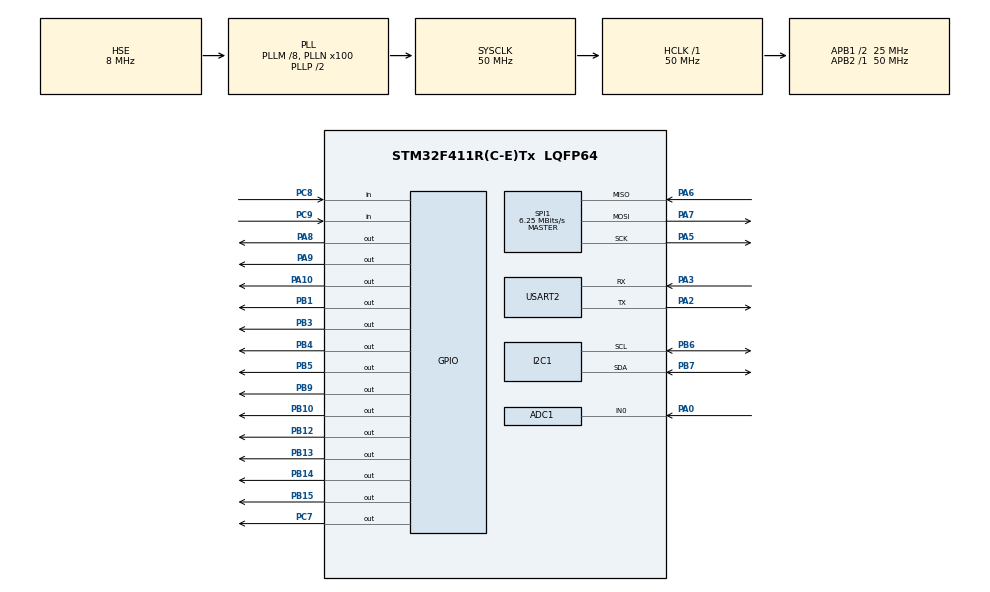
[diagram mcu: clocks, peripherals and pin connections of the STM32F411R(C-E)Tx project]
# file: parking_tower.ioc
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ADC1.Channel-0\#ChannelRegularConversion=ADC_CHANNEL_0
ADC1.NbrOfConversionFlag=1
ADC1.Rank-0\#ChannelRegularConversion=1
ADC1.SamplingTime-0\#ChannelRegularConversion=ADC_SAMPLETIME_3CYCLES
ADC1.master=1
Mcu.Family=STM32F4
Mcu.Name=STM32F411R(C-E)Tx
Mcu.Package=LQFP64
NVIC.ADC_IRQn=true\:0\:0\:false\:false\:true\:true\:true\:true
NVIC.PriorityGroup=NVIC_PRIORITYGROUP_4
PA0-WKUP.Signal=ADCx_IN0
PA10.Signal=GPIO_Output
PA13.Mode=Serial_Wire
PA13.Signal=SYS_JTMS-SWDIO
PA14.Mode=Serial_Wire
PA14.Signal=SYS_JTCK-SWCLK
PA2.Mode=Asynchronous
PA2.Signal=USART2_TX
PA3.Mode=Asynchronous
PA3.Signal=USART2_RX
PA5.Mode=Full_Duplex_Master
PA5.Signal=SPI1_SCK
PA6.Mode=Full_Duplex_Master
PA6.Signal=SPI1_MISO
PA7.Mode=Full_Duplex_Master
PA7.Signal=SPI1_MOSI
PA8.Signal=GPIO_Output
PA9.Signal=GPIO_Output
PB1.Signal=GPIO_Output
PB10.Signal=GPIO_Output
PB12.Signal=GPIO_Output
PB13.Signal=GPIO_Output
PB14.Signal=GPIO_Output
PB15.Signal=GPIO_Output
PB3.Signal=GPIO_Output
PB4.Signal=GPIO_Output
PB5.Signal=GPIO_Output
PB6.Mode=I2C
PB6.Signal=I2C1_SCL
PB7.Mode=I2C
PB7.Signal=I2C1_SDA
PB9.Signal=GPIO_Output
PC7.Signal=GPIO_Output
PC8.GPIO_PuPd=GPIO_PULLUP
PC8.Signal=GPIO_Input
PC9.GPIO_PuPd=GPIO_PULLUP
PC9.Signal=GPIO_Input
PH0\ -\ OSC_IN.Mode=HSE-External-Oscillator
PH0\ -\ OSC_IN.Signal=RCC_OSC_IN
PH1\ -\ OSC_OUT.Mode=HSE-External-Oscillator
PH1\ -\ OSC_OUT.Signal=RCC_OSC_OUT
ProjectManager.HeapSize=0x200
ProjectManager.StackSize=0x400
ProjectManager.TargetToolchain=STM32CubeIDE
RCC.48MHZClocksFreq_Value=25000000
RCC.AHBFreq_Value=50000000
RCC.APB1CLKDivider=RCC_HCLK_DIV2
RCC.APB1Freq_Value=25000000
RCC.APB1TimFreq_Value=50000000
RCC.APB2Freq_Value=50000000
RCC.APB2TimFreq_Value=50000000
RCC.CortexFreq_Value=50000000
RCC.HCLKFreq_Value=50000000
RCC.HSE_VALUE=8000000
RCC.HSI_VALUE=16000000
RCC.LSE_VALUE=32768
RCC.PLLM=8
RCC.PLLN=100
RCC.PLLSourceVirtual=RCC_PLLSOURCE_HSE
RCC.SYSCLKFreq_VALUE=50000000
RCC.SYSCLKSource=RCC_SYSCLKSOURCE_PLLCLK
RCC.VCOOutputFreq_Value=100000000
SH.ADCx_IN0.0=ADC1_IN0,IN0
SPI1.BaudRatePrescaler=SPI_BAUDRATEPRESCALER_8
SPI1.CalculateBaudRate=6.25 MBits/s
SPI1.Direction=SPI_DIRECTION_2LINES
SPI1.Mode=SPI_MODE_MASTER
SPI1.VirtualType=VM_MASTER
USART2.VirtualMode=VM_ASYNC
board=custom

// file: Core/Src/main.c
/* USER CODE BEGIN Header */
/**
  ******************************************************************************
  * @file           : main.c
  * @brief          : Main program body
  ******************************************************************************
  * @attention
  *
  * Copyright (c) 2026 STMicroelectronics.
  * All rights reserved.
  *
  * This software is licensed under terms that can be found in the LICENSE file
  * in the root directory of this software component.
  * If no LICENSE file comes with this software, it is provided AS-IS.
  *
  ******************************************************************************
  */
/* USER CODE END Header */
#include "main.h"
#include "adc.h"
#include "i2c.h"
#include "spi.h"
#include "usart.h"
#include "gpio.h"

/* USER CODE BEGIN Includes */
#include "RC522.h"
#include "string.h"
#include "stdio.h"
#include "stepper.h"
#include "tower.h"
#include "button.h"
#include "parking.h"
#include "led.h"
#include "lcd_ui.h"
#include "HD44780_LCD.h"
/* USER CODE END Includes */

/* USER CODE BEGIN PD */
uint8_t status;
uint8_t str[16];
uint8_t sNum[5];
uint8_t slot = 0;
/* USER CODE END PD */

void SystemClock_Config(void);

/* USER CODE BEGIN 0 */
uint8_t status;
uint8_t str[16];
uint8_t sNum[5];
uint32_t slotEntryTick[8] = {0};
typedef enum
{
    APP_IDLE,

    APP_CONFIRM_IN,
    APP_MOVE_IN,
    APP_IN_COMPLETE,

    APP_CONFIRM_OUT,
    APP_MOVE_OUT,
    APP_OUT_COMPLETE

} AppState;
AppState appState = APP_IDLE;
int outIdx = -1;
int targetSlot = -1;
uint32_t stateTick = 0;
uint32_t durationSec = 0;

uint8_t status;
uint8_t str[16];
uint8_t sNum[5];
HD44780_LCD_t lcd;
#ifdef __GNUC__
  /* With GCC, small printf (option LD Linker->Libraries->Small printf
     set to 'Yes') calls __io_putchar() */
  #define PUTCHAR_PROTOTYPE int __io_putchar(int ch)
#else
  #define PUTCHAR_PROTOTYPE int fputc(int ch, FILE *f)
#endif /* __GNUC__ */
PUTCHAR_PROTOTYPE
{
  /* Place your implementation of fputc here */
  /* e.g. write a character to the EVAL_COM1 and Loop until the end of transmission */
  HAL_UART_Transmit(&huart2, (uint8_t *)&ch, 1, 0xFFFF);

  return ch;
}

/* USER CODE END 0 */

int main(void)
{

  /* MCU Configuration--------------------------------------------------------*/

  /* Reset of all peripherals, Initializes the Flash interface and the Systick. */
  HAL_Init();

  /* Configure the system clock */
  SystemClock_Config();

  /* Initialize all configured peripherals */
  MX_GPIO_Init();
  MX_SPI1_Init();
  MX_USART2_UART_Init();
  MX_ADC1_Init();
  MX_I2C1_Init();
  /* USER CODE BEGIN 2 */
  MFRC522_Init();
  LCD_createI2C(&lcd, &hi2c1);
   LCD_init(&lcd);
   LCD_enableBacklight(&lcd);
   lcdShowIdle();
  uint8_t version = Read_MFRC522(VersionReg);

  char buf[50];
  sprintf(buf, "Version = 0x%02X\r\n", version);
  HAL_UART_Transmit(&huart2, (uint8_t*)buf, strlen(buf), HAL_MAX_DELAY);
  /* USER CODE END 2 */

  /* Infinite loop */
  /* USER CODE BEGIN WHILE */
  while (1)
  {
	  switch(appState)
	     {
	     //--------------------------------------------------
	     // RFID 대기
	     //--------------------------------------------------
	     case APP_IDLE:

	         lcdShowIdle();

	         status = MFRC522_Request(PICC_REQIDL, str);

	         if(status == MI_OK)
	         {
	             status = MFRC522_Anticoll(str);

	             if(status == MI_OK)
	             {
	                 memcpy(sNum, str, 5);

	                 printf("\r\nUID : %02X %02X %02X %02X\r\n",
	                         sNum[0], sNum[1], sNum[2], sNum[3]);

	                 int idx = findCar(sNum);

	                 if(idx == -1)
	                 {
	                     targetSlot = findEmptySlot();

	                     lcdShowInQuestion(targetSlot);

	                     printf("In ? (YES / NO)\r\n");

	                     appState = APP_CONFIRM_IN;
	                 }
	                 else
	                 {
	                     outIdx = idx;
	                     targetSlot = getSlot(idx);

	                     lcdShowOutQuestion(targetSlot);

	                     printf("Out ? (YES / NO)\r\n");

	                     appState = APP_CONFIRM_OUT;
	                 }

	                 while(MFRC522_Request(PICC_REQIDL, str) == MI_OK)
	                 {
	                     HAL_Delay(100);
	                 }
	             }
	         }

	         break;

	     //--------------------------------------------------
	     // 입차 확인
	     //--------------------------------------------------
	     case APP_CONFIRM_IN:

	         if(buttonYesPressed())
	         {
	             printf("YES\r\n");

	             targetSlot = assignCar(sNum);

	             if(targetSlot == -1)
	             {
	                 printf("Parking Full!!\r\n");

	                 appState = APP_IDLE;
	             }
	             else
	             {
	                 appState = APP_MOVE_IN;
	             }
	         }
	         else if(buttonNoPressed())
	         {
	             lcdShowInCancel();

	             HAL_Delay(2000);

	             appState = APP_IDLE;
	         }

	         break;

	     //--------------------------------------------------
	     // 입차 이동
	     //--------------------------------------------------
	     case APP_MOVE_IN:

	         lcdShowMoving(targetSlot);

	         ledUpdate();

	         printf("Move -> Slot %d\r\n", targetSlot + 1);

	         moveToSlot(targetSlot);

	         slotEntryTick[targetSlot] = HAL_GetTick();

	         stateTick = HAL_GetTick();

	         appState = APP_IN_COMPLETE;

	         break;

	     //--------------------------------------------------
	     // 입차 완료
	     //--------------------------------------------------
	     case APP_IN_COMPLETE:

	         lcdShowInComplete(targetSlot);

	         printf("Arrived Slot %d\r\n", targetSlot + 1);

	         if(HAL_GetTick() - stateTick >= 2000)
	         {
	             appState = APP_IDLE;
	         }

	         break;

	     //--------------------------------------------------
	     // 출차 확인
	     //--------------------------------------------------
	     case APP_CONFIRM_OUT:

	         if(buttonYesPressed())
	         {
	             printf("YES\r\n");

	             appState = APP_MOVE_OUT;
	         }
	         else if(buttonNoPressed())
	         {
	             lcdShowOutCancel();

	             HAL_Delay(2000);

	             appState = APP_IDLE;
	         }

	         break;

	     //--------------------------------------------------
	     // 출차 이동
	     //--------------------------------------------------
	     case APP_MOVE_OUT:

	         lcdShowMoving(targetSlot);

	         printf("Move -> Slot %d\r\n", targetSlot + 1);

	         moveToSlot(targetSlot);

	         durationSec =
	                 (HAL_GetTick() - slotEntryTick[targetSlot]) / 1000;

	         removeCar(outIdx);

	         ledUpdate();

	         stateTick = HAL_GetTick();

	         appState = APP_OUT_COMPLETE;

	         break;

	     //--------------------------------------------------
	     // 출차 완료
	     //--------------------------------------------------
	     case APP_OUT_COMPLETE:

	         lcdShowThankYou(durationSec);

	         printf("Car Out Complete\r\n");

	         if(HAL_GetTick() - stateTick >= 3000)
	         {
	             appState = APP_IDLE;
	         }

	         break;
	     }
    /* USER CODE END WHILE */

  }
}

void SystemClock_Config(void)
{
  RCC_OscInitTypeDef RCC_OscInitStruct = {0};
  RCC_ClkInitTypeDef RCC_ClkInitStruct = {0};

  /** Configure the main internal regulator output voltage
  */
  __HAL_RCC_PWR_CLK_ENABLE();
  __HAL_PWR_VOLTAGESCALING_CONFIG(PWR_REGULATOR_VOLTAGE_SCALE1);

  /** Initializes the RCC Oscillators according to the specified parameters
  * in the RCC_OscInitTypeDef structure.
  */
  RCC_OscInitStruct.OscillatorType = RCC_OSCILLATORTYPE_HSE;
  RCC_OscInitStruct.HSEState = RCC_HSE_ON;
  RCC_OscInitStruct.PLL.PLLState = RCC_PLL_ON;
  RCC_OscInitStruct.PLL.PLLSource = RCC_PLLSOURCE_HSE;
  RCC_OscInitStruct.PLL.PLLM = 8;
  RCC_OscInitStruct.PLL.PLLN = 100;
  RCC_OscInitStruct.PLL.PLLP = RCC_PLLP_DIV2;
  RCC_OscInitStruct.PLL.PLLQ = 4;
  if (HAL_RCC_OscConfig(&RCC_OscInitStruct) != HAL_OK)
  {
    Error_Handler();
  }

  /** Initializes the CPU, AHB and APB buses clocks
  */
  RCC_ClkInitStruct.ClockType = RCC_CLOCKTYPE_HCLK|RCC_CLOCKTYPE_SYSCLK
                              |RCC_CLOCKTYPE_PCLK1|RCC_CLOCKTYPE_PCLK2;
  RCC_ClkInitStruct.SYSCLKSource = RCC_SYSCLKSOURCE_PLLCLK;
  RCC_ClkInitStruct.AHBCLKDivider = RCC_SYSCLK_DIV1;
  RCC_ClkInitStruct.APB1CLKDivider = RCC_HCLK_DIV2;
  RCC_ClkInitStruct.APB2CLKDivider = RCC_HCLK_DIV1;

  if (HAL_RCC_ClockConfig(&RCC_ClkInitStruct, FLASH_LATENCY_1) != HAL_OK)
  {
    Error_Handler();
  }
}

void Error_Handler(void)
{
  __disable_irq();
  while (1)
  {
  }
}
